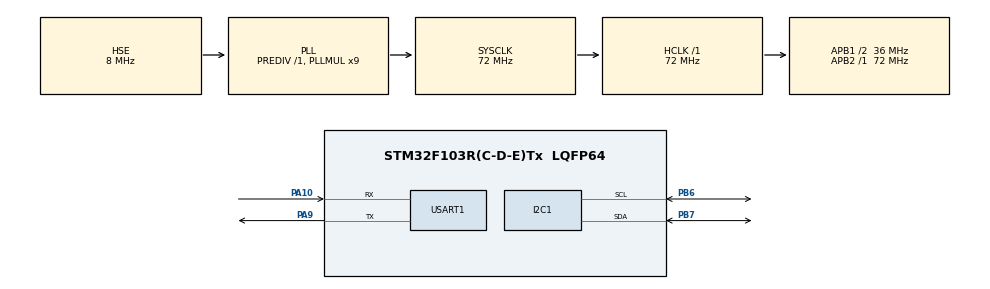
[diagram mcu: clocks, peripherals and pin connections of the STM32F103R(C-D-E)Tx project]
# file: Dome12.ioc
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Mcu.Family=STM32F1
Mcu.Name=STM32F103R(C-D-E)Tx
Mcu.Package=LQFP64
NVIC.PriorityGroup=NVIC_PRIORITYGROUP_4
PA10.Mode=Asynchronous
PA10.Signal=USART1_RX
PA13.Mode=Serial_Wire
PA13.Signal=SYS_JTMS-SWDIO
PA14.Mode=Serial_Wire
PA14.Signal=SYS_JTCK-SWCLK
PA9.Mode=Asynchronous
PA9.Signal=USART1_TX
PB6.Mode=I2C
PB6.Signal=I2C1_SCL
PB7.Mode=I2C
PB7.Signal=I2C1_SDA
PD0-OSC_IN.Mode=HSE-External-Oscillator
PD0-OSC_IN.Signal=RCC_OSC_IN
PD1-OSC_OUT.Mode=HSE-External-Oscillator
PD1-OSC_OUT.Signal=RCC_OSC_OUT
ProjectManager.HeapSize=0x200
ProjectManager.StackSize=0x400
ProjectManager.TargetToolchain=MDK-ARM V5.32
RCC.AHBFreq_Value=72000000
RCC.APB1CLKDivider=RCC_HCLK_DIV2
RCC.APB1Freq_Value=36000000
RCC.APB1TimFreq_Value=72000000
RCC.APB2Freq_Value=72000000
RCC.APB2TimFreq_Value=72000000
RCC.HCLKFreq_Value=72000000
RCC.PLLMUL=RCC_PLL_MUL9
RCC.PLLSourceVirtual=RCC_PLLSOURCE_HSE
RCC.SYSCLKFreq_VALUE=72000000
RCC.SYSCLKSource=RCC_SYSCLKSOURCE_PLLCLK
RCC.USBFreq_Value=72000000
USART1.VirtualMode=VM_ASYNC
board=custom

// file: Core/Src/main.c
/* USER CODE BEGIN Header */
/**
  ******************************************************************************
  * @file           : main.c
  * @brief          : Main program body
  ******************************************************************************
  * @attention
  *
  * Copyright (c) 2025 STMicroelectronics.
  * All rights reserved.
  *
  * This software is licensed under terms that can be found in the LICENSE file
  * in the root directory of this software component.
  * If no LICENSE file comes with this software, it is provided AS-IS.
  *
  ******************************************************************************
  */
/* USER CODE END Header */
#include "main.h"
#include "i2c.h"
#include "usart.h"
#include "gpio.h"

/* USER CODE BEGIN Includes */
#include "stdio.h"
/* USER CODE END Includes */

void SystemClock_Config(void);

int main(void)
{

  /* MCU Configuration--------------------------------------------------------*/

  /* Reset of all peripherals, Initializes the Flash interface and the Systick. */
  HAL_Init();

  /* Configure the system clock */
  SystemClock_Config();

  /* Initialize all configured peripherals */
  MX_GPIO_Init();
  MX_I2C1_Init();
  MX_USART1_UART_Init();
  /* USER CODE BEGIN 2 */
	uint8_t w_buf[8] = {0,1,2,3,4,5,6,7};
	uint8_t r_buf[8];
  /* USER CODE END 2 */

  /* Infinite loop */
  /* USER CODE BEGIN WHILE */
  while (1)
  {
		//实现忘芯片写入8byte
		if(HAL_I2C_Mem_Write(&hi2c1,0x0A,0x00,I2C_MEMADD_SIZE_8BIT,w_buf,sizeof(w_buf),0xff) == HAL_OK) {
			printf("weite success\n");
		}
		HAL_Delay(10);
		//再实现，从芯片读取8byte
		HAL_I2C_Mem_Read(&hi2c1,0xA1,0x00,I2C_MEMADD_SIZE_8BIT,r_buf,sizeof(r_buf),0xff);
		printf("r_buf = ");
		for(int i = 0; sizeof(r_buf); i++) {
			printf("%d",r_buf[i]);
		}
		printf("\n");
		HAL_Delay(1000);
    /* USER CODE END WHILE */

  }
}

void SystemClock_Config(void)
{
  RCC_OscInitTypeDef RCC_OscInitStruct = {0};
  RCC_ClkInitTypeDef RCC_ClkInitStruct = {0};

  /** Initializes the RCC Oscillators according to the specified parameters
  * in the RCC_OscInitTypeDef structure.
  */
  RCC_OscInitStruct.OscillatorType = RCC_OSCILLATORTYPE_HSE;
  RCC_OscInitStruct.HSEState = RCC_HSE_ON;
  RCC_OscInitStruct.HSEPredivValue = RCC_HSE_PREDIV_DIV1;
  RCC_OscInitStruct.HSIState = RCC_HSI_ON;
  RCC_OscInitStruct.PLL.PLLState = RCC_PLL_ON;
  RCC_OscInitStruct.PLL.PLLSource = RCC_PLLSOURCE_HSE;
  RCC_OscInitStruct.PLL.PLLMUL = RCC_PLL_MUL9;
  if (HAL_RCC_OscConfig(&RCC_OscInitStruct) != HAL_OK)
  {
    Error_Handler();
  }
  /** Initializes the CPU, AHB and APB buses clocks
  */
  RCC_ClkInitStruct.ClockType = RCC_CLOCKTYPE_HCLK|RCC_CLOCKTYPE_SYSCLK
                              |RCC_CLOCKTYPE_PCLK1|RCC_CLOCKTYPE_PCLK2;
  RCC_ClkInitStruct.SYSCLKSource = RCC_SYSCLKSOURCE_PLLCLK;
  RCC_ClkInitStruct.AHBCLKDivider = RCC_SYSCLK_DIV1;
  RCC_ClkInitStruct.APB1CLKDivider = RCC_HCLK_DIV2;
  RCC_ClkInitStruct.APB2CLKDivider = RCC_HCLK_DIV1;

  if (HAL_RCC_ClockConfig(&RCC_ClkInitStruct, FLASH_LATENCY_2) != HAL_OK)
  {
    Error_Handler();
  }
}

/* USER CODE BEGIN 4 */
int fputc(int ch, FILE *f)
{
    HAL_UART_Transmit(&huart1 , (uint8_t *)&ch, 1, 0xFFFF);
    return ch;
}
/* USER CODE END 4 */

void Error_Handler(void)
{
  __disable_irq();
  while (1)
  {
  }
}
